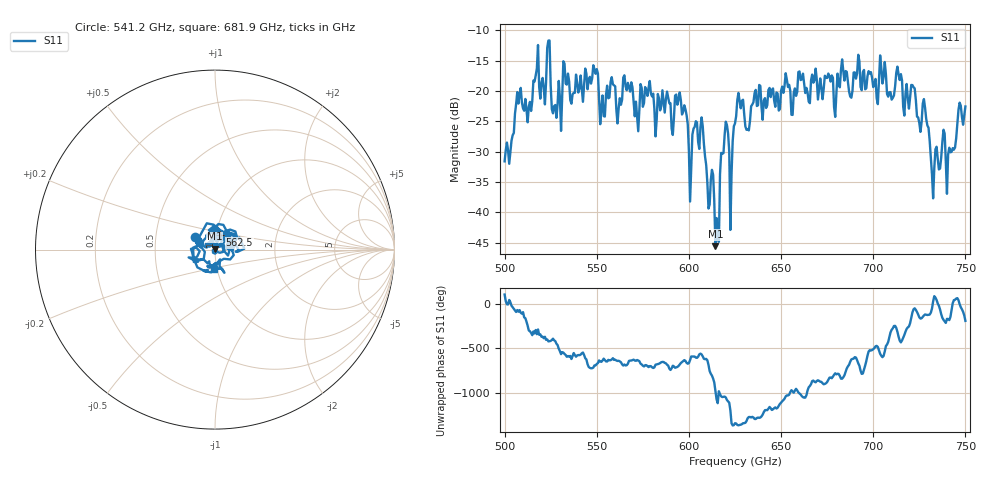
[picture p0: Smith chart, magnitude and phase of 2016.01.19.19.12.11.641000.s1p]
!Created with skrf (http://scikit-rf.org).
# GHz S RI R 50.0
!freq ReS11 ImS11
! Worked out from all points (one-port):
!   401 points, 500 GHz to 750 GHz, reference 50 ohm
!   lowest |S11| = -45.6 dB at 614.4 GHz (marker M1), VSWR 1.01, Z = 49.9 + j0.517 ohm
!   |S11| at or under -10 dB: start of sweep to end of sweep
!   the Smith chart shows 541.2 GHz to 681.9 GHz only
!   S11 on the Smith chart (normalised r, x): 541.2 GHz: 0.79, +0.12; 562.5 GHz: 1.04, +0.17; 681.9 GHz: 0.97, -0.21
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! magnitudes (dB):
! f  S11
! 500 GHz  -31.6
! 516.9 GHz  -17.4
! 520.6 GHz  -17.8
! 523.8 GHz  -11.7
! 526.9 GHz  -22.5
! 531.2 GHz  -21.0
! 541.2 GHz  -17.4
! 549.4 GHz  -17.1
! 553.1 GHz  -20.7
! 558.8 GHz  -18.9
! 562.5 GHz  -21.2
! 565.6 GHz  -19.2
! 593.8 GHz  -22.2
! 600.6 GHz  -38.2
! 607.5 GHz  -25.8
! 614.4 GHz  -45.6
! 615.6 GHz  -44.1
! 619.4 GHz  -27.3
! 623.1 GHz  -33.7
! 625 GHz  -25.3
! 656.2 GHz  -23.9
! 681.9 GHz  -19.4
! 687.5 GHz  -20.9
! 705 GHz  -18.7
! 718.8 GHz  -21.2
! 728.1 GHz  -22.8
! 732.5 GHz  -37.7
! 750 GHz  -22.5
